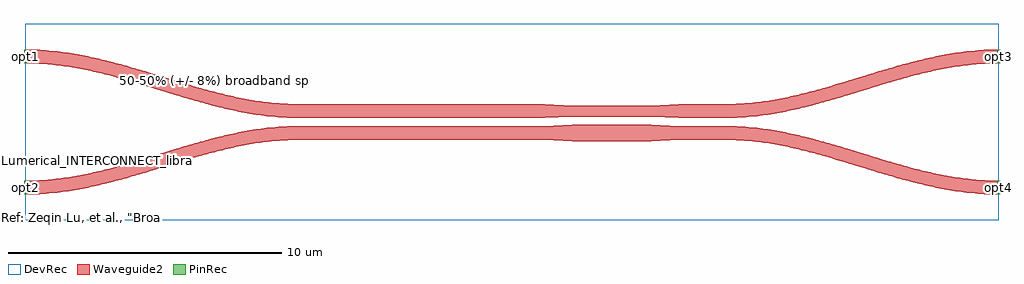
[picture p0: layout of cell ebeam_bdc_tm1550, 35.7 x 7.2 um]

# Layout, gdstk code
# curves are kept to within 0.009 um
import gdstk
lib = gdstk.Library(unit=1e-6, precision=1e-09)
def R(c, l, rs):  # rectangles x0, y0, x1, y1
    for r in rs: c.add(gdstk.rectangle(r[:2], r[2:], *l))
def P(c, l, *ps):  # polygons
    for p in ps: c.add(gdstk.Polygon(p, *l))
PinRec = (1, 10)
Waveguide2 = (31, 0)
DevRec = (68, 0)

ebeam_bdc_tm1550 = lib.new_cell('ebeam_bdc_tm1550')
P(ebeam_bdc_tm1550, Waveguide2, [(0.208,-2.649),(0.741,-2.629),(1.371,-2.569),(1.991,-2.475),(2.601,-2.354),(3.304,-2.185),(3.899,-2.022),(6.244,-1.315),(7.022,-1.099),(8.001,-0.873),(8.494,-0.784),(8.99,-0.716),(9.592,-0.664),(10.1,-0.65),(19.1,-0.65),(20.1,-0.7),(23,-0.7),(23,-0.1),(20.1,-0.1),(19.1,-0.15),(10.1,-0.15),(9.565,-0.165),(9.038,-0.207),(8.518,-0.274),(8.005,-0.362),(6.896,-0.615),(6.005,-0.864),(3.762,-1.541),(3.178,-1.701),(2.494,-1.866),(1.805,-2),(1.21,-2.084),(0.608,-2.136),(0.1,-2.15),(0.1,-2.65)],
  [(35.7,-2.15),(35.192,-2.136),(34.59,-2.084),(33.995,-2),(33.306,-1.866),(32.622,-1.701),(32.038,-1.541),(29.795,-0.864),(28.904,-0.615),(28.1,-0.424),(27.385,-0.29),(26.762,-0.207),(26.022,-0.155),(24,-0.15),(23,-0.1),(23,-0.7),(24,-0.65),(25.904,-0.652),(26.51,-0.685),(27.009,-0.74),(27.405,-0.8),(28.192,-0.956),(29.07,-1.177),(31.605,-1.936),(32.496,-2.185),(33.3,-2.376),(34.015,-2.51),(34.848,-2.613),(35.7,-2.65)],
  [(20.1,0.2),(23,0.2),(23,0.6),(20.1,0.6),(19.1,0.65),(9.896,0.652),(9.29,0.685),(8.791,0.74),(7.902,0.893),(7.022,1.099),(6.244,1.315),(3.899,2.022),(3.304,2.185),(2.601,2.354),(1.991,2.475),(1.371,2.569),(0.741,2.629),(0.1,2.65),(0.1,2.15),(0.608,2.136),(1.21,2.084),(1.805,2),(2.494,1.866),(3.178,1.701),(3.762,1.541),(6.005,0.864),(6.896,0.615),(7.903,0.382),(8.829,0.231),(9.459,0.171),(10.1,0.15),(19.1,0.15)],
  [(25.808,0.151),(26.341,0.171),(26.971,0.231),(27.693,0.343),(28.403,0.492),(29.499,0.778),(32.33,1.623),(32.915,1.775),(33.502,1.907),(33.995,2),(34.59,2.084),(35.192,2.136),(35.7,2.15),(35.7,2.65),(35.059,2.629),(34.429,2.569),(33.809,2.475),(33.199,2.354),(32.496,2.185),(31.901,2.022),(29.556,1.315),(28.778,1.099),(27.996,0.913),(27.306,0.784),(26.71,0.705),(26.107,0.659),(24,0.65),(23,0.6),(23,0.2),(24,0.15)])
R(ebeam_bdc_tm1550, DevRec, [(0.1,-3.6,35.7,3.6)])
ebeam_bdc_tm1550.add(gdstk.FlexPath([(0.05,2.4),(0.15,2.4)], 0.5, ends="flush", simple_path=True, layer=1, datatype=10))  # PinRec
ebeam_bdc_tm1550.add(gdstk.FlexPath([(0.05,-2.4),(0.15,-2.4)], 0.5, ends="flush", simple_path=True, layer=1, datatype=10))  # PinRec
ebeam_bdc_tm1550.add(gdstk.FlexPath([(35.65,2.4),(35.75,2.4)], 0.5, ends="flush", simple_path=True, layer=1, datatype=10))  # PinRec
ebeam_bdc_tm1550.add(gdstk.FlexPath([(35.65,-2.4),(35.75,-2.4)], 0.5, ends="flush", simple_path=True, layer=1, datatype=10))  # PinRec
ebeam_bdc_tm1550.add(gdstk.Label('opt1', (0.1,2.4), layer=1, texttype=10))
ebeam_bdc_tm1550.add(gdstk.Label('opt2', (0.1,-2.4), layer=1, texttype=10))
ebeam_bdc_tm1550.add(gdstk.Label('opt3', (35.7,2.4), layer=1, texttype=10))
ebeam_bdc_tm1550.add(gdstk.Label('opt4', (35.7,-2.4), layer=1, texttype=10))
ebeam_bdc_tm1550.add(gdstk.Label('Lumerical_INTERCONNECT_library=Design kits/Not_Available', (1.54,-1.39), layer=68, texttype=0))
ebeam_bdc_tm1550.add(gdstk.Label('Ref: Zeqin Lu, et al., "Broadband silicon photonic directional coupler using asymmetric-waveguide based phase control," Optics Express, 2015', (0.2,-3.5), layer=68, texttype=0))
ebeam_bdc_tm1550.add(gdstk.Label('50-50% (+/- 8%) broadband splitter, 1550 nm, TM', (7,1.5), layer=68, texttype=0))
ebeam_bdc_tm1550.add(gdstk.Label('opt1', (0.1,2.4), layer=1, texttype=10))
ebeam_bdc_tm1550.add(gdstk.Label('opt2', (0.1,-2.4), layer=1, texttype=10))
ebeam_bdc_tm1550.add(gdstk.Label('opt3', (35.7,2.4), layer=1, texttype=10))
ebeam_bdc_tm1550.add(gdstk.Label('opt4', (35.7,-2.4), layer=1, texttype=10))
ebeam_bdc_tm1550.add(gdstk.Label('Lumerical_INTERCONNECT_library=Design kits/Not_Available', (1.54,-1.39), layer=68, texttype=0))
ebeam_bdc_tm1550.add(gdstk.Label('Ref: Zeqin Lu, et al., "Broadband silicon photonic directional coupler using asymmetric-waveguide based phase control," Optics Express, 2015', (0.2,-3.5), layer=68, texttype=0))
ebeam_bdc_tm1550.add(gdstk.Label('50-50% (+/- 8%) broadband splitter, 1550 nm, TM', (7,1.5), layer=68, texttype=0))

lib.write_gds('ebeam_bdc_tm1550.gds')
